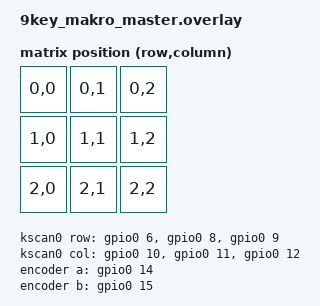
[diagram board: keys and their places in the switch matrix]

/*
 * 9key_makro_master — ZMK shield overlay for nice!nano v2
 *
 * Hardware (original QMK board was RP2040/QMK_BLOK):
 *   Matrix:  3 rows × 3 cols, ROW2COL
 *   Encoder: Alps EC11
 *   RGB:     WS2812 strip, 65 LEDs
 *   OLED:    SSD1306, 128×32, I2C @ 0x3C
 *
 * Pin mapping currently used in this overlay:
 *   Row 0 → P0.06    Col 0 → P0.10
 *   Row 1 → P0.08    Col 1 → P0.11
 *   Row 2 → P0.09    Col 2 → P0.12
 *   Enc A → P0.14    Enc B → P0.15
 *   RGB   → P0.22
 *   SDA   → P0.17    SCL → P0.20
 */


#include <dt-bindings/zmk/matrix_transform.h>
#include <dt-bindings/led/led.h>
#include <dt-bindings/pinctrl/nrf-pinctrl.h>

/ {
    chosen {
        zmk,kscan = &kscan0;
        zmk,matrix-transform = &default_transform;
        zmk,underglow = &led_strip;
        zephyr,display = &oled;
    };

    default_transform: keymap_transform_0 {
        compatible = "zmk,matrix-transform";
        columns = <3>;
        rows = <3>;

        map = <
            RC(0,0) RC(0,1) RC(0,2)
            RC(1,0) RC(1,1) RC(1,2)
            RC(2,0) RC(2,1) RC(2,2)
        >;
    };

    kscan0: kscan {
        compatible = "zmk,kscan-gpio-matrix";

        diode-direction = "col2row";

        row-gpios
            = <&gpio0 6  (GPIO_ACTIVE_HIGH | GPIO_PULL_DOWN)>
            , <&gpio0 8  (GPIO_ACTIVE_HIGH | GPIO_PULL_DOWN)>
            , <&gpio0 9  (GPIO_ACTIVE_HIGH | GPIO_PULL_DOWN)>
            ;

        col-gpios
            = <&gpio0 10 GPIO_ACTIVE_HIGH>
            , <&gpio0 11 GPIO_ACTIVE_HIGH>
            , <&gpio0 12 GPIO_ACTIVE_HIGH>
            ;
    };

    encoder: encoder {
        compatible = "alps,ec11";
        a-gpios = <&gpio0 14 (GPIO_ACTIVE_LOW | GPIO_PULL_UP)>;
        b-gpios = <&gpio0 15 (GPIO_ACTIVE_LOW | GPIO_PULL_UP)>;
        steps = <80>;
        status = "okay";
    };

    sensors {
        compatible = "zmk,keymap-sensors";
        sensors = <&encoder>;
    };

    led_strip: ws2812 {
        compatible = "worldsemi,ws2812-gpio";
        label = "WS2812";

        chain-length = <9>;
        color-mapping = <LED_COLOR_ID_GREEN LED_COLOR_ID_RED LED_COLOR_ID_BLUE>;

        in-gpios = <&gpio0 22 GPIO_ACTIVE_HIGH>;
    };
};

&pinctrl {
    i2c0_default: i2c0_default {
        group1 {
            psels = <NRF_PSEL(TWIM_SDA, 0, 17)>,
                    <NRF_PSEL(TWIM_SCL, 0, 20)>;
        };
    };

    i2c0_sleep: i2c0_sleep {
        group1 {
            psels = <NRF_PSEL(TWIM_SDA, 0, 17)>,
                    <NRF_PSEL(TWIM_SCL, 0, 20)>;
            low-power-enable;
        };
    };
};

&i2c0 {
    status = "okay";
    pinctrl-0 = <&i2c0_default>;
    pinctrl-1 = <&i2c0_sleep>;
    pinctrl-names = "default", "sleep";

    oled: ssd1306@3c {
        compatible = "solomon,ssd1306fb";
        status = "okay";
        reg = <0x3c>;
        width = <128>;
        height = <32>;
        segment-offset = <0>;
        page-offset = <0>;
        display-offset = <0>;
        multiplex-ratio = <31>;
        segment-remap;
        com-invdir;
        com-sequential;
        prechargep = <0x22>;
    };
};
